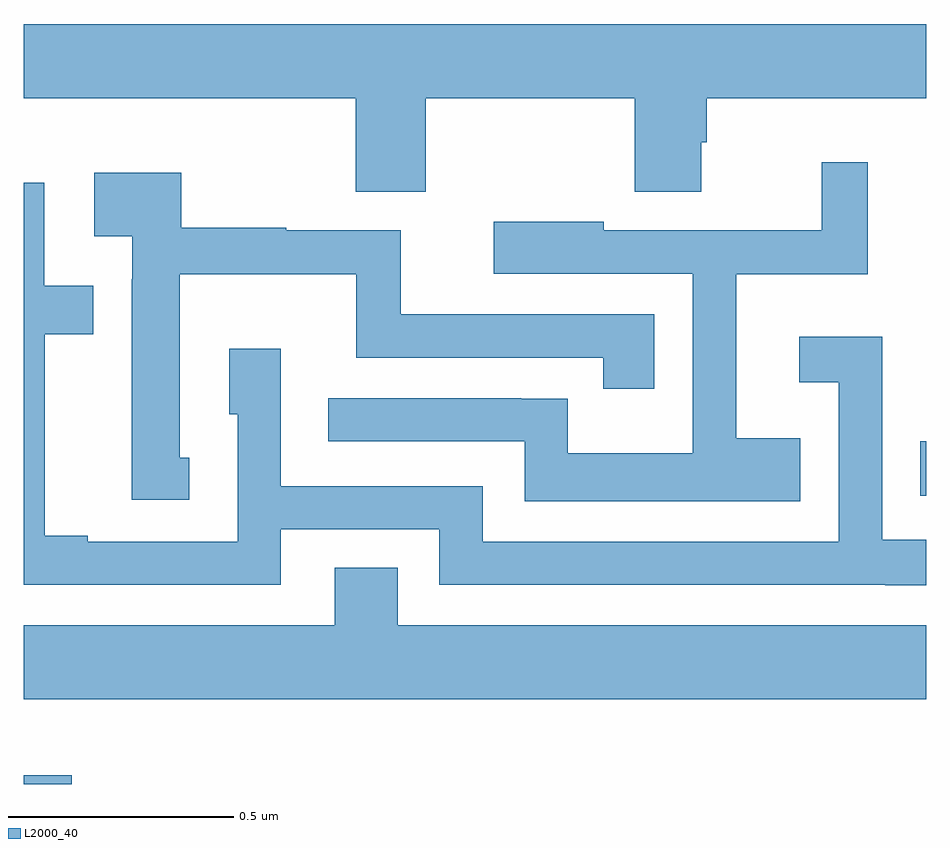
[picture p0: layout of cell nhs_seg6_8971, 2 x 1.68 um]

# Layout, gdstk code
import gdstk
lib = gdstk.Library(unit=1e-6, precision=1e-09)
def R(c, l, rs):  # rectangles x0, y0, x1, y1
    for r in rs: c.add(gdstk.rectangle(r[:2], r[2:], *l))
def P(c, l, *ps):  # polygons
    for p in ps: c.add(gdstk.Polygon(p, *l))
L2000_40 = (2000, 40)

nhs_seg6_8971 = lib.new_cell('nhs_seg6_8971')
R(nhs_seg6_8971, L2000_40, [(228,928.5,228.106,928.519), (229.987,929.139,230,929.259)])
P(nhs_seg6_8971, L2000_40, [(228.891,930.02),(229.354,930.02),(229.354,929.812),(229.501,929.812),(229.501,929.922),(229.514,929.922),(229.514,930.02),(230,930.02),(230,930.184),(228,930.184),(228,930.02),(228.736,930.02),(228.736,929.812),(228.891,929.812)],
  [(229.721,929.266),(229.579,929.266),(229.579,929.63),(229.87,929.63),(229.87,929.878),(229.768,929.878),(229.768,929.727),(229.285,929.727),(229.285,929.746),(229.041,929.746),(229.041,929.631),(229.482,929.631),(229.482,929.233),(229.206,929.233),(229.206,929.354),(229.103,929.354),(229.103,929.355),(228.675,929.355),(228.675,929.259),(229.11,929.259),(229.11,929.126),(229.721,929.126)],
  [(228.367,929.223),(228.346,929.223),(228.346,929.63),(228.737,929.63),(228.737,929.445),(229.284,929.445),(229.284,929.376),(229.397,929.376),(229.397,929.541),(228.836,929.541),(228.836,929.727),(228.582,929.727),(228.582,929.732),(228.349,929.732),(228.349,929.854),(228.156,929.854),(228.156,929.714),(228.24,929.714),(228.24,929.618),(228.239,929.618),(228.239,929.13),(228.367,929.13)],
  [(230,929.041),(229.902,929.041),(229.902,929.491),(229.719,929.491),(229.719,929.39),(229.806,929.39),(229.806,929.037),(229.017,929.037),(229.017,929.16),(228.57,929.16),(228.57,929.464),(228.455,929.464),(228.455,929.319),(228.474,929.319),(228.474,929.037),(228.142,929.037),(228.142,929.05),(228.047,929.05),(228.047,929.496),(228.154,929.496),(228.154,929.604),(228.045,929.604),(228.045,929.832),(228,929.832),(228,928.941),(228.57,928.941),(228.57,929.064),(228.921,929.064),(228.921,928.941),(229.909,928.941),(229.909,928.94),(230,928.94)],
  [(230,928.852),(228.829,928.852),(228.829,928.979),(228.689,928.979),(228.689,928.852),(228,928.852),(228,928.688),(230,928.688)])

lib.write_gds('nhs_seg6_8971.gds')
